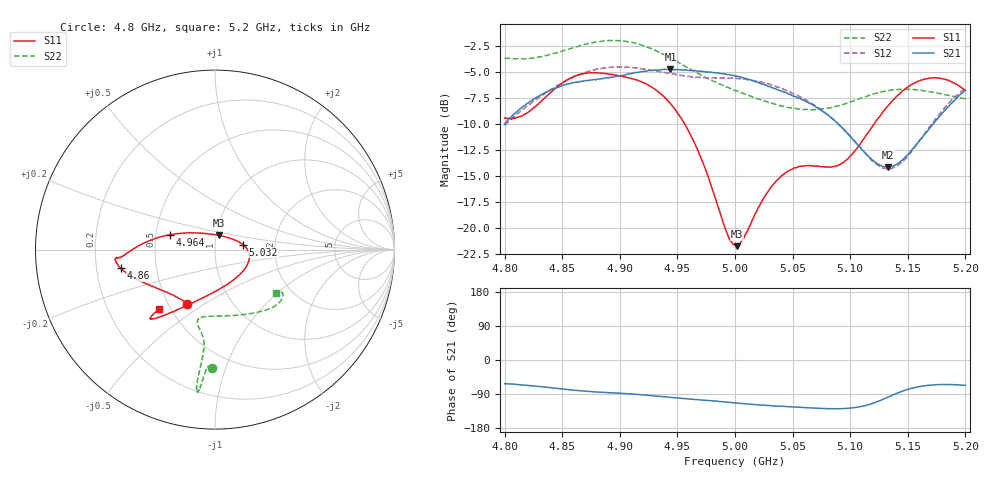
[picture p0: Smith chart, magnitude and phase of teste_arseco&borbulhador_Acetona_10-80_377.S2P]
! Network Analyzer HP8722D
! Hewlett-Packard
! Data name: Linha & Wilkinson
! Saver's name: Rodrigo Anjos
! Comments: Teste da utilização de aquisição
! continua pelo VNA HP8722D
! Time and date: 17/4/2025 17:30
!  Frequency  S11  S21  S12  S22
# HZ  S  MA R 50
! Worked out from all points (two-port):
!   401 points, 4.8 GHz to 5.2 GHz, reference 50 ohm
!   highest |S21| = -4.73 dB at 4.944 GHz (marker M1); lowest = -14.2 dB at 5.133 GHz (marker M2)
!   |S21| within 3 dB of the highest: 4.824 GHz to 5.06 GHz (236.2 MHz wide, 4.78 % of centre); 5.190477 GHz to end of sweep
!   lowest |S11| = -21.8 dB at 5.002 GHz (marker M3), VSWR 1.18, Z = 51.5 + j8.15 ohm
!   |S11| at or under -10 dB: 4.956 GHz to 5.121 GHz (164.6 MHz wide, 3.27 % of centre)
!   |S22| runs from -8.7 to -2.0 dB; largest |S21 - S12| = 0.87
!   S11 on the Smith chart (normalised r, x): 4.8 GHz: 0.62, -0.42; 4.86 GHz: 0.31, -0.09; 4.964 GHz: 0.59, +0.11; 5.032 GHz: 1.37, +0.08; 5.2 GHz: 0.43, -0.36
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4.8e9  0.3378 -117.2  0.3165 -62.5  0.3113 -176.7  0.6577 -91.5
4.818e9  0.3531 -136.3  0.3906 -66.4  0.3806 -176.3  0.6514 -93.1
4.86e9  0.5355 -168.8  0.4998 -79.5  0.5315 -179.8  0.7369 -95.5
4.867e9  0.55 -171.5  0.5085 -81.6  0.5524 179.0  0.7575 -95.8
4.9e9  0.54 -175.3  0.5403 -87.5  0.5943 173.1  0.7949 -97.3
4.934e9  0.4493 179.1  0.5756 -95.9  0.567 169.8  0.7016 -97.5
4.944e9  0.3958 174.5  0.5798 -98.6  0.5522 170.0  0.6572 -97.1
4.964e9  0.262 161.5  0.571 -103.7  0.5328 171.8  0.569 -96.6
4.975e9  0.1869 150.3  0.5635 -106.5  0.5278 172.9  0.527 -96.7
4.993e9  0.09434 111.3  0.5476 -111.2  0.5264 174.0  0.4754 -98.7
5e9  0.0821 83.8  0.5401 -113.3  0.5252 174.0  0.4577 -100.2
5.002e9  0.08136 74.9  0.537 -113.7  0.5226 174.1  0.4555 -100.6
5.032e9  0.1586 10.0  0.4729 -120.9  0.4867 173.0  0.3971 -103.3
5.047e9  0.1885 -4.2  0.4395 -123.3  0.4523 172.3  0.3785 -99.5
5.067e9  0.1988 -25.4  0.3926 -126.6  0.3963 172.1  0.3701 -88.3
5.096e9  0.211 -75.6  0.2906 -127.9  0.2916 174.8  0.3962 -65.8
5.119e9  0.3057 -110.2  0.2119 -114.8  0.2102 -170.1  0.4384 -50.6
5.133e9  0.3877 -121.1  0.1958 -97.7  0.1916 -151.0  0.4576 -43.8
5.134e9  0.3929 -121.8  0.1959 -96.3  0.1916 -149.5  0.4585 -43.4
5.148e9  0.4675 -128.1  0.2193 -79.4  0.2149 -129.6  0.4651 -38.2
5.168e9  0.5248 -132.4  0.297 -66.8  0.3012 -113.2  0.4523 -33.5
5.2e9  0.4572 -133.4  0.4592 -67.2  0.4694 -109.2  0.4173 -35.1
